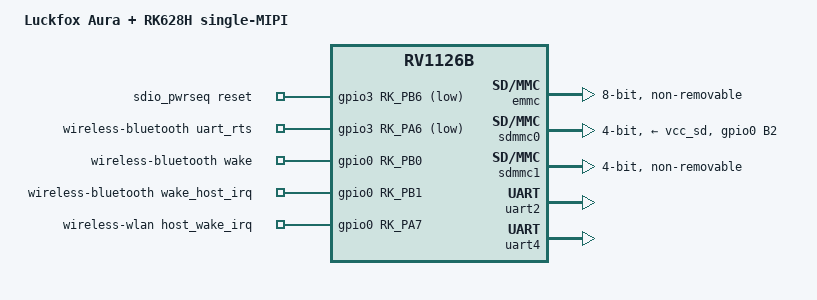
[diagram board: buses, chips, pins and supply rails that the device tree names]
// SPDX-License-Identifier: (GPL-2.0+ OR MIT)
/*
 * Copyright (c) 2025 Rockchip Electronics Co., Ltd.
 *   (the board content below the include block, copied from
 *   rv1126b-luckfox-aura.dts, which carries this line)
 * Modified by Ground Plane Studio, LLC, 2026.
 *
 * Luckfox Aura + rk628-22p (RK628H bridge, one 22-pin FPC, single link).
 *
 * A variant of rv1126b-luckfox-aura.dts that swaps the CSI0 camera stack for
 * the RK628H HDMI to CSI bridge. This follows Rockchip's own convention (see
 * rk3576-evb1-v10-rk628-hdmi2csi.dts): a standalone .dts that includes the SoC
 * and board dtsi files and simply does not include the camera one. No overlay,
 * because RV1126B U-Boot overlay support is inconsistent and a single DTB
 * leaves nothing to get wrong.
 *
 * Everything below the include block is copied verbatim from
 * rv1126b-luckfox-aura.dts (SDK 260521, kernel 6.1.141). Luckfox put the board
 * content in the .dts rather than a .dtsi, so a variant has to carry it: drop
 * any of it and you lose bootargs, WiFi power sequencing, eMMC or the microSD
 * slot. Re-diff this against the stock file after any SDK bump.
 *
 * `compatible` is deliberately left identical to stock, since the SDK build
 * system and BoardConfig may match on it. Only `model` changes.
 *
 * INSTALL (kernel 6.1.141, branch luckfox-linux-6.1-rv1126b):
 *
 *   1. Copy this file and rv1126b-rk628h-dual.dtsi to
 *        arch/arm64/boot/dts/rockchip/
 *
 *   2. Add the 32-bit shim, as every other RV1126B board does.
 *      arch/arm/boot/dts/rv1126b-luckfox-aura-rk628h-single.dts:
 *
 *        // SPDX-License-Identifier: (GPL-2.0+ OR MIT)
 *        #include "arm64/rockchip/rv1126b-luckfox-aura-rk628h-single.dts"
 *
 *   3. Add rv1126b-luckfox-aura-rk628h-single.dtb to arch/arm/boot/dts/Makefile.
 *
 *   4. Merge arch/arm/configs/rv1126b-rk628.config, which Rockchip already
 *      ship:  CONFIG_VIDEO_RK628=y, CONFIG_VIDEO_RK628_CSI=y,
 *             CONFIG_VIDEO_ROCKCHIP_HDMIRX_CLASS=y, CONFIG_CEC_CORE=y,
 *             CONFIG_HDMI=y
 *      Consider =m rather than =y for VIDEO_RK628*: the vendor remove path
 *      oopses (NULL deref), so a built-in driver cannot be unbound. Modular
 *      makes iterating on the driver a rmmod instead of a reboot.
 */

/dts-v1/;

#include "rv1126b.dtsi"
#include "rv1126b-aoa.dtsi"
#include "rv1126b-luckfox-aura.dtsi"
#include "rv1126b-luckfox-aura-dsi.dtsi"

/*
 * DELIBERATELY NOT INCLUDED: rv1126b-luckfox-aura-cam-csi0.dtsi
 *
 * This is the point of the variant, and it is not only about freeing the CSI
 * lanes. That file:
 *
 *   - puts imx415_0@37 on i2c4 with reset-gpios = <&gpio4 RK_PB0>, the exact
 *     pin the bridge uses for RSTN. Two drivers cannot hold one GPIO: the
 *     second devm_gpiod_get() returns -EBUSY and the rk628 probe fails, which
 *     reads as a driver bug rather than a device tree conflict.
 *   - adds mia1321_0@60 on the same bus, also claiming gpio4 RK_PB0, at the
 *     opposite polarity.
 *   - claims <4 RK_PB0 RK_FUNC_GPIO> in a cam_reset_gpio pinctrl group.
 *   - wires csi2_dphy0 port@0 to those two sensors, which is the input the
 *     bridge needs.
 *   - routes rkcif_mipi_lvds on through the ISP and VPSS, which HDMI input
 *     does not need.
 *
 * Its cam_ircut0 node also carries a commented-out led-gpios = <&gpio4 RK_PA0>,
 * the bridge's INTN pin. Commented out today; worth knowing if it ever is not.
 */

#include "rv1126b-rk628h-dual.dtsi"

/ {
	model = "Luckfox Aura + RK628H single-MIPI";
	compatible = "rockchip,rv1126b-evb1-v11", "rockchip,rv1126b";

	chosen {
		bootargs = "earlycon=uart8250,mmio32,0x20810000 console=ttyFIQ0 console=ttyS4,1500000 rw root=PARTUUID=614e0000-0000 rootfstype=ext4 rootwait snd_soc_core.prealloc_buffer_size_kbytes=16 coherent_pool=32K";
	};

	sdio_pwrseq: sdio-pwrseq {
		compatible = "mmc-pwrseq-simple";
		pinctrl-names = "default";
		pinctrl-0 = <&wifi_enable_h &pcm_out>;
		post-power-on-delay-ms = <200>;
		reset-gpios = <&gpio3 RK_PB6 GPIO_ACTIVE_LOW>;
	};

	wireless-bluetooth {
		compatible = "bluetooth-platdata";
		uart_rts_gpios = <&gpio3 RK_PA6 GPIO_ACTIVE_LOW>;
		pinctrl-names = "default", "rts_gpio";
		pinctrl-0 = <&uart2m0_rtsn_pins &bt_poweren_gpio>;
		pinctrl-1 = <&uart2_gpios &bt_poweren_gpio>;
		BT,wake_gpio     = <&gpio0 RK_PB0 GPIO_ACTIVE_HIGH>;
		BT,wake_host_irq = <&gpio0 RK_PB1 GPIO_ACTIVE_HIGH>;
		//BT,power_gpio     = <&gpio3 RK_PB7 GPIO_ACTIVE_HIGH>;
		status = "okay";
	};

	wireless-wlan {
		compatible = "wlan-platdata";
		rockchip,grf = <&grf>;
		pinctrl-names = "default";
		pinctrl-0 = <&wifi_wake_host>;
		WIFI,host_wake_irq = <&gpio0 RK_PA7 GPIO_ACTIVE_HIGH>;
		status = "okay";
	};
};

/**********MEDIA**********/
&emmc {
	bus-width = <8>;
	cap-mmc-highspeed;
	non-removable;
	//mmc-hs200-1_8v;
	rockchip,default-sample-phase = <90>;
	no-sdio;
	no-sd;
	status = "okay";
};

&fspi0 {
	status = "disabled";

	flash@0 {
		status = "disabled";
		compatible = "spi-nand";
		reg = <0>;
		spi-max-frequency = <75000000>;
		spi-rx-bus-width = <4>;
		spi-tx-bus-width = <1>;
	};
};

/**********SDMMC**********/
&sdmmc0 {
	max-frequency = <52000000>;
	no-sdio;
	no-mmc;
	bus-width = <4>;
	cap-mmc-highspeed;
	cap-sd-highspeed;
	disable-wp;
	vmmc-supply = <&vcc_sd>;
	vqmmc-supply = <&vccio_sd>;
	pinctrl-names = "default";

	pinctrl-0 = <&sdmmc0_clk_pins &sdmmc0_cmd_pins &sdmmc0_detn_pins &sdmmc0_bus4_pins &sdmmc0_pwren>;
	status = "okay";
};

&pinctrl {
	sdmmc0 {
		sdmmc0_pwren: sdmmc0-pwren {
			rockchip,pins = <0 RK_PB2 RK_FUNC_GPIO &pcfg_pull_down>;
		};
	};
};

/**********WiFi / BT**********/
&sdmmc1 {
	bus-width = <4>;

	cap-sd-highspeed;
	supports-highspeed;
	cap-sdio-irq;

	no-sd;
	no-mmc;
	max-frequency = <150000000>;
	pinctrl-names = "default";
	pinctrl-0 = <&sdmmc1_clk_pins &sdmmc1_cmd_pins &sdmmc1_bus4_pins>;
	disable-wp;

	keep-power-in-suspend;
	non-removable;

	mmc-pwrseq = <&sdio_pwrseq>;
	sd-uhs-sdr104;
	status = "okay";
};

&uart2 {
	status = "okay";
	pinctrl-names = "default";
	pinctrl-0 = <&uart2m0_xfer_pins &uart2m0_ctsn_pins>;
};

/**********PINCTRL**********/
&pinctrl {
	sdio-pwrseq {
		wifi_enable_h: wifi-enable-h {
			rockchip,pins = <3 RK_PB6 RK_FUNC_GPIO &pcfg_pull_up>;
		};

		pcm_out: pcm-out {
			rockchip,pins = <3 RK_PB3 RK_FUNC_GPIO &pcfg_pull_up>;
		};
	};

	wireless-bluetooth {
		uart2_gpios: uart2-gpios {
			rockchip,pins = <3 RK_PA6 RK_FUNC_GPIO &pcfg_pull_none>;
		};

		bt_poweren_gpio: bt-poweren-gpio {
			rockchip,pins = <3 RK_PB7 RK_FUNC_GPIO &pcfg_pull_up>;
		};
	};

	wireless-wlan {
		wifi_wake_host: wifi-wake-host {
			rockchip,pins = <0 RK_PA7 RK_FUNC_GPIO &pcfg_pull_up>;
		};
	};
};

/*
 * Kernel console mirrored to UART4 on the 40-pin header (pin 8 = TX GPIO5_A2,
 * pin 10 = RX GPIO5_A3, pin 6 GND), so a USB-UART can watch boot and catch
 * hangs. UART0 (ttyFIQ0) is not brought out on a bare Aura.
 */
&uart4 {
	status = "okay";
	pinctrl-names = "default";
	pinctrl-0 = <&uart4m1_xfer_pins>;
};


/*
 * Single link: the dual dtsi minus multi-dev-info. Without that node the
 * rk628 driver leaves dual_mipi_use false and streams the whole frame over
 * one link, its CSI0 port. On the rk628-22p that port is the board's only
 * FPC, which lands on the Aura's CSI0 receiver (csi2_dphy0 -> mipi0_csi2 ->
 * rkcif_mipi_lvds), where the dtsi already hangs the bridge's media graph.
 * At 1080p120 and 4K30 that is 1188 Mbps per lane (the driver rounds to
 * 1300), inside a single link.
 *
 * Single link also allows rkcif's line wake-up (wait_line), which hands the
 * capture buffer to userspace at line N while DMA keeps filling it, so an
 * encoder can start before the frame is complete. The dual-link combine
 * cannot hand over a partial buffer.
 */
&rk628_csi {
	/delete-node/ multi-dev-info;
};
